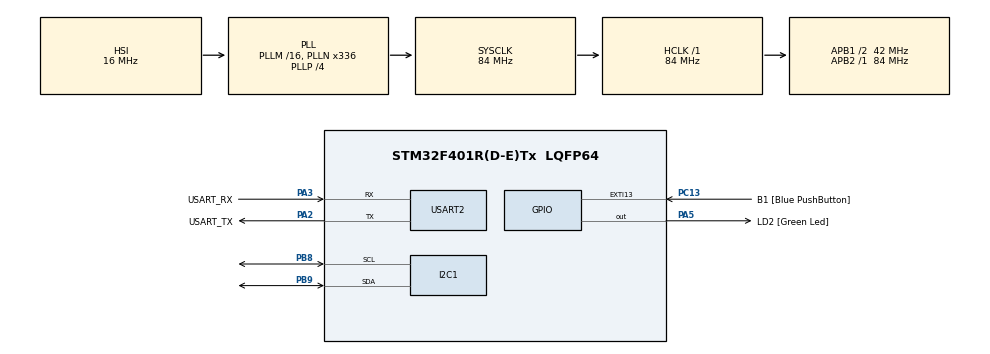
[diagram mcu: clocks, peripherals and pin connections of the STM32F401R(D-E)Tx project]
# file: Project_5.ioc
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Mcu.Family=STM32F4
Mcu.Name=STM32F401R(D-E)Tx
Mcu.Package=LQFP64
NVIC.PriorityGroup=NVIC_PRIORITYGROUP_0
PA13.GPIO_Label=TMS
PA13.Mode=Serial_Wire
PA13.Signal=SYS_JTMS-SWDIO
PA14.GPIO_Label=TCK
PA14.Mode=Serial_Wire
PA14.Signal=SYS_JTCK-SWCLK
PA2.GPIO_Label=USART_TX
PA2.GPIO_Mode=GPIO_MODE_AF_PP
PA2.GPIO_PuPd=GPIO_NOPULL
PA2.GPIO_Speed=GPIO_SPEED_FREQ_LOW
PA2.Mode=Asynchronous
PA2.Signal=USART2_TX
PA3.GPIO_Label=USART_RX
PA3.GPIO_Mode=GPIO_MODE_AF_PP
PA3.GPIO_PuPd=GPIO_NOPULL
PA3.GPIO_Speed=GPIO_SPEED_FREQ_LOW
PA3.Mode=Asynchronous
PA3.Signal=USART2_RX
PA5.GPIO_Label=LD2 [Green Led]
PA5.GPIO_Mode=GPIO_MODE_OUTPUT_PP
PA5.GPIO_PuPd=GPIO_NOPULL
PA5.GPIO_Speed=GPIO_SPEED_FREQ_LOW
PA5.Signal=GPIO_Output
PB3.GPIO_Label=SWO
PB3.Signal=SYS_JTDO-SWO
PB8.Mode=I2C
PB8.Signal=I2C1_SCL
PB9.Mode=I2C
PB9.Signal=I2C1_SDA
PC13-ANTI_TAMP.GPIO_Label=B1 [Blue PushButton]
PC13-ANTI_TAMP.GPIO_ModeDefaultEXTI=GPIO_MODE_IT_FALLING
PC13-ANTI_TAMP.GPIO_PuPd=GPIO_NOPULL
PC13-ANTI_TAMP.Signal=GPXTI13
PC14-OSC32_IN.Mode=LSE-External-Oscillator
PC14-OSC32_IN.Signal=RCC_OSC32_IN
PC15-OSC32_OUT.Mode=LSE-External-Oscillator
PC15-OSC32_OUT.Signal=RCC_OSC32_OUT
PH0\ -\ OSC_IN.Mode=HSE-External-Clock-Source
PH0\ -\ OSC_IN.Signal=RCC_OSC_IN
PH1\ -\ OSC_OUT.Mode=HSE-External-Clock-Source
PH1\ -\ OSC_OUT.Signal=RCC_OSC_OUT
ProjectManager.HeapSize=0x200
ProjectManager.StackSize=0x400
ProjectManager.TargetToolchain=STM32CubeIDE
RCC.48MHZClocksFreq_Value=48000000
RCC.AHBFreq_Value=84000000
RCC.APB1CLKDivider=RCC_HCLK_DIV2
RCC.APB1Freq_Value=42000000
RCC.APB1TimFreq_Value=84000000
RCC.APB2Freq_Value=84000000
RCC.APB2TimFreq_Value=84000000
RCC.CortexFreq_Value=84000000
RCC.HCLKFreq_Value=84000000
RCC.HSE_VALUE=8000000
RCC.HSI_VALUE=16000000
RCC.PLLN=336
RCC.PLLP=RCC_PLLP_DIV4
RCC.PLLQ=7
RCC.SYSCLKFreq_VALUE=84000000
RCC.SYSCLKSource=RCC_SYSCLKSOURCE_PLLCLK
RCC.VCOOutputFreq_Value=336000000
USART2.VirtualMode=VM_ASYNC
board=NUCLEO-F401RE

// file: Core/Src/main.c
/* USER CODE BEGIN Header */
/**
  ******************************************************************************
  * @file           : main.c
  * @brief          : Main program body
  ******************************************************************************
  * @attention
  *
  * <h2><center>&copy; Copyright (c) 2021 STMicroelectronics.
  * All rights reserved.</center></h2>
  *
  * This software component is licensed by ST under BSD 3-Clause license,
  * the "License"; You may not use this file except in compliance with the
  * License. You may obtain a copy of the License at:
  *                        opensource.org/licenses/BSD-3-Clause
  *
  ******************************************************************************
  */
/* USER CODE END Header */
#include "main.h"

/* USER CODE BEGIN Includes */
#include "string.h"
#include "stdio.h"
/* USER CODE END Includes */

/* USER CODE BEGIN PD */
#define LM75B_ADDRESS 0b10010000
/* USER CODE END PD */

I2C_HandleTypeDef hi2c1;

UART_HandleTypeDef huart2;

void SystemClock_Config(void);
static void MX_GPIO_Init(void);
static void MX_USART2_UART_Init(void);
static void MX_I2C1_Init(void);

int main(void)
{

  /* MCU Configuration--------------------------------------------------------*/

  /* Reset of all peripherals, Initializes the Flash interface and the Systick. */
  HAL_Init();

  /* Configure the system clock */
  SystemClock_Config();

  /* Initialize all configured peripherals */
  MX_GPIO_Init();
  MX_USART2_UART_Init();
  MX_I2C1_Init();
  /* USER CODE BEGIN 2 */
  uint8_t pointer_register = 0;
  uint8_t temperature[2] = {0,0};
  int16_t temperature_long = 0;
  float temperature_conv = 0;
  HAL_I2C_Master_Transmit(&hi2c1, LM75B_ADDRESS, &pointer_register, 1, 10);
  char str[30];

  /* USER CODE END 2 */

  /* Infinite loop */
  while (1)
  {

    /* USER CODE BEGIN 3 */
	  HAL_I2C_Master_Receive(&hi2c1, LM75B_ADDRESS + 1, temperature, 2, 10);
	  temperature_long = ((int16_t)temperature[0])<<8 | temperature[1];
	  temperature_conv = temperature_long / 256.0;
	  snprintf(str, sizeof(str), "Temperature: %1.3f°C\r\n", temperature_conv);
	  HAL_UART_Transmit(&huart2, str, strlen(str), 100);
	  HAL_Delay(1000);
  }
  /* USER CODE END 3 */
}

void SystemClock_Config(void)
{
  RCC_OscInitTypeDef RCC_OscInitStruct = {0};
  RCC_ClkInitTypeDef RCC_ClkInitStruct = {0};

  /** Configure the main internal regulator output voltage
  */
  __HAL_RCC_PWR_CLK_ENABLE();
  __HAL_PWR_VOLTAGESCALING_CONFIG(PWR_REGULATOR_VOLTAGE_SCALE2);
  /** Initializes the RCC Oscillators according to the specified parameters
  * in the RCC_OscInitTypeDef structure.
  */
  RCC_OscInitStruct.OscillatorType = RCC_OSCILLATORTYPE_HSI;
  RCC_OscInitStruct.HSIState = RCC_HSI_ON;
  RCC_OscInitStruct.HSICalibrationValue = RCC_HSICALIBRATION_DEFAULT;
  RCC_OscInitStruct.PLL.PLLState = RCC_PLL_ON;
  RCC_OscInitStruct.PLL.PLLSource = RCC_PLLSOURCE_HSI;
  RCC_OscInitStruct.PLL.PLLM = 16;
  RCC_OscInitStruct.PLL.PLLN = 336;
  RCC_OscInitStruct.PLL.PLLP = RCC_PLLP_DIV4;
  RCC_OscInitStruct.PLL.PLLQ = 7;
  if (HAL_RCC_OscConfig(&RCC_OscInitStruct) != HAL_OK)
  {
    Error_Handler();
  }
  /** Initializes the CPU, AHB and APB buses clocks
  */
  RCC_ClkInitStruct.ClockType = RCC_CLOCKTYPE_HCLK|RCC_CLOCKTYPE_SYSCLK
                              |RCC_CLOCKTYPE_PCLK1|RCC_CLOCKTYPE_PCLK2;
  RCC_ClkInitStruct.SYSCLKSource = RCC_SYSCLKSOURCE_PLLCLK;
  RCC_ClkInitStruct.AHBCLKDivider = RCC_SYSCLK_DIV1;
  RCC_ClkInitStruct.APB1CLKDivider = RCC_HCLK_DIV2;
  RCC_ClkInitStruct.APB2CLKDivider = RCC_HCLK_DIV1;

  if (HAL_RCC_ClockConfig(&RCC_ClkInitStruct, FLASH_LATENCY_2) != HAL_OK)
  {
    Error_Handler();
  }
}

static void MX_I2C1_Init(void)
{

  hi2c1.Instance = I2C1;
  hi2c1.Init.ClockSpeed = 100000;
  hi2c1.Init.DutyCycle = I2C_DUTYCYCLE_2;
  hi2c1.Init.OwnAddress1 = 0;
  hi2c1.Init.AddressingMode = I2C_ADDRESSINGMODE_7BIT;
  hi2c1.Init.DualAddressMode = I2C_DUALADDRESS_DISABLE;
  hi2c1.Init.OwnAddress2 = 0;
  hi2c1.Init.GeneralCallMode = I2C_GENERALCALL_DISABLE;
  hi2c1.Init.NoStretchMode = I2C_NOSTRETCH_DISABLE;
  if (HAL_I2C_Init(&hi2c1) != HAL_OK)
  {
    Error_Handler();
  }

}

static void MX_USART2_UART_Init(void)
{

  huart2.Instance = USART2;
  huart2.Init.BaudRate = 115200;
  huart2.Init.WordLength = UART_WORDLENGTH_8B;
  huart2.Init.StopBits = UART_STOPBITS_1;
  huart2.Init.Parity = UART_PARITY_NONE;
  huart2.Init.Mode = UART_MODE_TX_RX;
  huart2.Init.HwFlowCtl = UART_HWCONTROL_NONE;
  huart2.Init.OverSampling = UART_OVERSAMPLING_16;
  if (HAL_UART_Init(&huart2) != HAL_OK)
  {
    Error_Handler();
  }

}

static void MX_GPIO_Init(void)
{
  GPIO_InitTypeDef GPIO_InitStruct = {0};

  /* GPIO Ports Clock Enable */
  __HAL_RCC_GPIOC_CLK_ENABLE();
  __HAL_RCC_GPIOH_CLK_ENABLE();
  __HAL_RCC_GPIOA_CLK_ENABLE();
  __HAL_RCC_GPIOB_CLK_ENABLE();

  /*Configure GPIO pin Output Level */
  HAL_GPIO_WritePin(LD2_GPIO_Port, LD2_Pin, GPIO_PIN_RESET);

  /*Configure GPIO pin : B1_Pin */
  GPIO_InitStruct.Pin = B1_Pin;
  GPIO_InitStruct.Mode = GPIO_MODE_IT_FALLING;
  GPIO_InitStruct.Pull = GPIO_NOPULL;
  HAL_GPIO_Init(B1_GPIO_Port, &GPIO_InitStruct);

  /*Configure GPIO pin : LD2_Pin */
  GPIO_InitStruct.Pin = LD2_Pin;
  GPIO_InitStruct.Mode = GPIO_MODE_OUTPUT_PP;
  GPIO_InitStruct.Pull = GPIO_NOPULL;
  GPIO_InitStruct.Speed = GPIO_SPEED_FREQ_LOW;
  HAL_GPIO_Init(LD2_GPIO_Port, &GPIO_InitStruct);

}

void Error_Handler(void)
{
}

/************************ (C) COPYRIGHT STMicroelectronics *****END OF FILE****/
